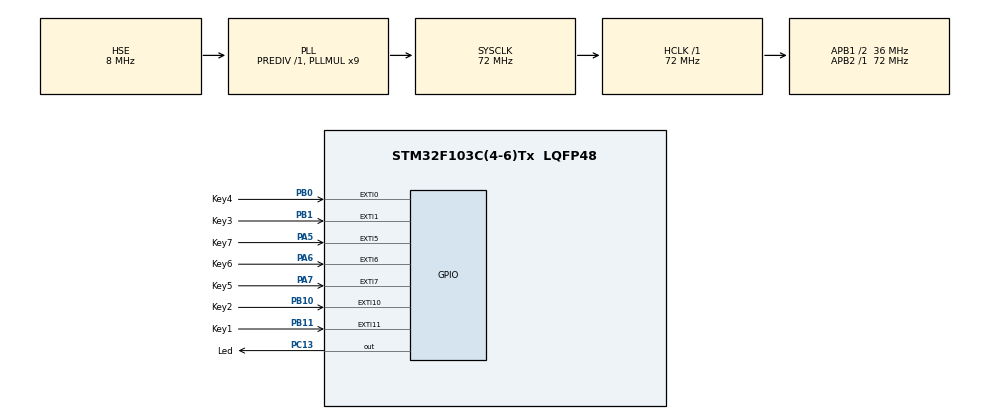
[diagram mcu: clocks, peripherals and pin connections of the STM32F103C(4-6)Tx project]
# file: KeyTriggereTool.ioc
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Mcu.Family=STM32F1
Mcu.Name=STM32F103C(4-6)Tx
Mcu.Package=LQFP48
NVIC.EXTI0_IRQn=true\:2\:0\:true\:false\:true\:true\:true\:true
NVIC.EXTI15_10_IRQn=true\:2\:0\:true\:false\:true\:true\:true\:true
NVIC.EXTI1_IRQn=true\:2\:0\:true\:false\:true\:true\:true\:true
NVIC.EXTI9_5_IRQn=true\:2\:0\:true\:false\:true\:true\:true\:true
NVIC.PriorityGroup=NVIC_PRIORITYGROUP_4
PA5.GPIO_Label=Key7
PA5.GPIO_ModeDefaultEXTI=GPIO_MODE_IT_FALLING
PA5.GPIO_PuPd=GPIO_PULLUP
PA5.Signal=GPXTI5
PA6.GPIO_Label=Key6
PA6.GPIO_ModeDefaultEXTI=GPIO_MODE_IT_FALLING
PA6.GPIO_PuPd=GPIO_PULLUP
PA6.Signal=GPXTI6
PA7.GPIO_Label=Key5
PA7.GPIO_ModeDefaultEXTI=GPIO_MODE_IT_FALLING
PA7.GPIO_PuPd=GPIO_PULLUP
PA7.Signal=GPXTI7
PB0.GPIO_Label=Key4
PB0.GPIO_ModeDefaultEXTI=GPIO_MODE_IT_FALLING
PB0.GPIO_PuPd=GPIO_PULLUP
PB0.Signal=GPXTI0
PB1.GPIO_Label=Key3
PB1.GPIO_ModeDefaultEXTI=GPIO_MODE_IT_FALLING
PB1.GPIO_PuPd=GPIO_PULLUP
PB1.Signal=GPXTI1
PB10.GPIO_Label=Key2
PB10.GPIO_ModeDefaultEXTI=GPIO_MODE_IT_FALLING
PB10.GPIO_PuPd=GPIO_PULLUP
PB10.Signal=GPXTI10
PB11.GPIO_Label=Key1
PB11.GPIO_ModeDefaultEXTI=GPIO_MODE_IT_FALLING
PB11.GPIO_PuPd=GPIO_PULLUP
PB11.Signal=GPXTI11
PC13-TAMPER-RTC.GPIO_Label=Led
PC13-TAMPER-RTC.PinState=GPIO_PIN_SET
PC13-TAMPER-RTC.Signal=GPIO_Output
PD0-OSC_IN.Mode=HSE-External-Oscillator
PD0-OSC_IN.Signal=RCC_OSC_IN
PD1-OSC_OUT.Mode=HSE-External-Oscillator
PD1-OSC_OUT.Signal=RCC_OSC_OUT
ProjectManager.HeapSize=0x200
ProjectManager.StackSize=0x400
ProjectManager.TargetToolchain=MDK-ARM V5.32
RCC.AHBFreq_Value=72000000
RCC.APB1CLKDivider=RCC_HCLK_DIV2
RCC.APB1Freq_Value=36000000
RCC.APB1TimFreq_Value=72000000
RCC.APB2Freq_Value=72000000
RCC.APB2TimFreq_Value=72000000
RCC.HCLKFreq_Value=72000000
RCC.PLLMUL=RCC_PLL_MUL9
RCC.PLLSourceVirtual=RCC_PLLSOURCE_HSE
RCC.SYSCLKFreq_VALUE=72000000
RCC.SYSCLKSource=RCC_SYSCLKSOURCE_PLLCLK
RCC.USBFreq_Value=72000000
VP_SYS_VS_ND.Mode=No_Debug
board=custom

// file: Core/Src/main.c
/* USER CODE BEGIN Header */
/**
  ******************************************************************************
  * @file           : main.c
  * @brief          : Main program body
  ******************************************************************************
  * @attention
  *
  * Copyright (c) 2023 STMicroelectronics.
  * All rights reserved.
  *
  * This software is licensed under terms that can be found in the LICENSE file
  * in the root directory of this software component.
  * If no LICENSE file comes with this software, it is provided AS-IS.
  *
  ******************************************************************************
  */
/* USER CODE END Header */
#include "main.h"
#include "gpio.h"

/* USER CODE BEGIN PV */
uint16_t button[4] = {0};
/* USER CODE END PV */

void SystemClock_Config(void);

/* USER CODE BEGIN 0 */
void ButtonTask(void);
/* USER CODE END 0 */

int main(void)
{

  /* MCU Configuration--------------------------------------------------------*/

  /* Reset of all peripherals, Initializes the Flash interface and the Systick. */
  HAL_Init();

  /* Configure the system clock */
  SystemClock_Config();

  /* Initialize all configured peripherals */
  MX_GPIO_Init();

  /* Infinite loop */
  while (1)
  {

    /* USER CODE BEGIN 3 */
		ButtonTask();
		HAL_GPIO_TogglePin(Led_GPIO_Port, Led_Pin);
		HAL_GPIO_TogglePin(Led_GPIO_Port, Led_Pin);
  }
  /* USER CODE END 3 */
}

void SystemClock_Config(void)
{
  RCC_OscInitTypeDef RCC_OscInitStruct = {0};
  RCC_ClkInitTypeDef RCC_ClkInitStruct = {0};

  /** Initializes the RCC Oscillators according to the specified parameters
  * in the RCC_OscInitTypeDef structure.
  */
  RCC_OscInitStruct.OscillatorType = RCC_OSCILLATORTYPE_HSE;
  RCC_OscInitStruct.HSEState = RCC_HSE_ON;
  RCC_OscInitStruct.HSEPredivValue = RCC_HSE_PREDIV_DIV1;
  RCC_OscInitStruct.HSIState = RCC_HSI_ON;
  RCC_OscInitStruct.PLL.PLLState = RCC_PLL_ON;
  RCC_OscInitStruct.PLL.PLLSource = RCC_PLLSOURCE_HSE;
  RCC_OscInitStruct.PLL.PLLMUL = RCC_PLL_MUL9;
  if (HAL_RCC_OscConfig(&RCC_OscInitStruct) != HAL_OK)
  {
    Error_Handler();
  }

  /** Initializes the CPU, AHB and APB buses clocks
  */
  RCC_ClkInitStruct.ClockType = RCC_CLOCKTYPE_HCLK|RCC_CLOCKTYPE_SYSCLK
                              |RCC_CLOCKTYPE_PCLK1|RCC_CLOCKTYPE_PCLK2;
  RCC_ClkInitStruct.SYSCLKSource = RCC_SYSCLKSOURCE_PLLCLK;
  RCC_ClkInitStruct.AHBCLKDivider = RCC_SYSCLK_DIV1;
  RCC_ClkInitStruct.APB1CLKDivider = RCC_HCLK_DIV2;
  RCC_ClkInitStruct.APB2CLKDivider = RCC_HCLK_DIV1;

  if (HAL_RCC_ClockConfig(&RCC_ClkInitStruct, FLASH_LATENCY_2) != HAL_OK)
  {
    Error_Handler();
  }
}

/* USER CODE BEGIN 4 */
void ButtonTask(void)
{
    GPIO_PinState ButtonPin = HAL_GPIO_ReadPin(Key1_GPIO_Port, Key1_Pin);

	  if (1 == (button[0]))
	  {
			  //HAL_Delay(10);
			  if (GPIO_PIN_RESET == ButtonPin)
			  {
				  button[0] = 0;
				  HAL_GPIO_TogglePin(Led_GPIO_Port, Led_Pin);
			  }
			  if (1 == HAL_GPIO_ReadPin(Key2_GPIO_Port, Key2_Pin))
			  {
				  HAL_GPIO_TogglePin(Led_GPIO_Port, Led_Pin);
				  button[1] = 0;
			  }
			  if (1 == HAL_GPIO_ReadPin(Key3_GPIO_Port, Key3_Pin))
			  {
				  HAL_GPIO_TogglePin(Led_GPIO_Port, Led_Pin);
				  button[2] = 0;
			  }
			  if (1 == HAL_GPIO_ReadPin(Key4_GPIO_Port, Key4_Pin))
			  {
				  HAL_GPIO_TogglePin(Led_GPIO_Port, Led_Pin);
				  button[3] = 0;
			  }
	}
}

void HAL_GPIO_EXTI_Callback(uint16_t GPIO_Pin)
{
  if(Key1_Pin == GPIO_Pin)
	{
		button[0] = 1;
	}
	if(Key2_Pin == GPIO_Pin)
	{
		button[1] = 1;
	}
	if(Key3_Pin == GPIO_Pin)
	{
		button[2] = 1;
	}
	if(Key4_Pin == GPIO_Pin)
	{
		button[3] = 1;
	}
}
/* USER CODE END 4 */

void Error_Handler(void)
{
  __disable_irq();
  while (1)
  {
  }
}
